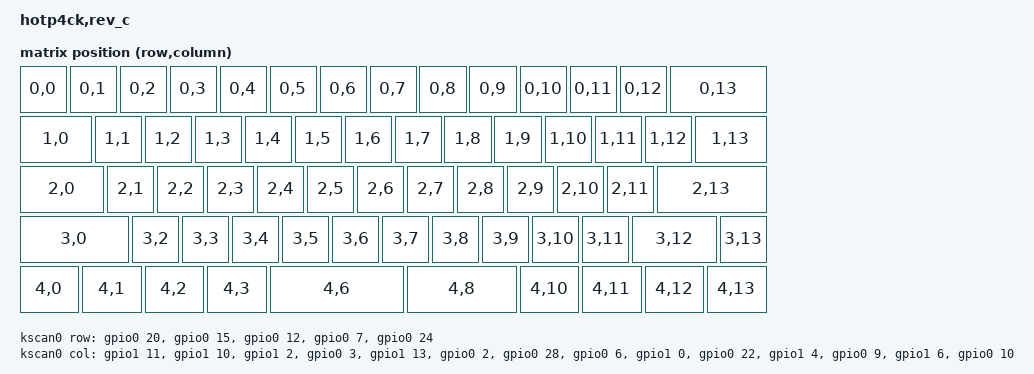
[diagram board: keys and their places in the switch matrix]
/*
 * Copyright (c) 2020 The ZMK Contributors
 *
 * SPDX-License-Identifier: MIT
 */

/dts-v1/;
#include <nordic/nrf52840_qiaa.dtsi>
#include <dt-bindings/zmk/matrix_transform.h>

/ {
	model = "hotp4ck,rev_c";
	compatible = "hotp4ck,rev_c";

	chosen {
		zephyr,code-partition = &code_partition;
		zephyr,sram = &sram0;
		zephyr,flash = &flash0;
		zmk,battery = &fuelgauge;
		zmk,kscan = &kscan0;
		//zmk,matrix_transform = &default_transform;
		/* zephyr,console = &cdc_acm_uart; */
	};

	leds {
		compatible = "gpio-leds";
		blue_led: led_0 {
			gpios = <&gpio0 26 GPIO_ACTIVE_HIGH>;
			label = "Blue LED";
		};
	};

	default_transform: keymap_transform_0 {
		compatible = "zmk,matrix-transform";
		columns = <14>;
		rows = <5>;
		map = <
			RC(0,0) RC(0,1) RC(0,2) RC(0,3) RC(0,4) RC(0,5) RC(0,6) RC(0,7) RC(0,8) RC(0,9) RC(0,10) RC(0,11) RC(0,12) RC(0,13)
			RC(1,0) RC(1,1) RC(1,2) RC(1,3) RC(1,4) RC(1,5) RC(1,6) RC(1,7) RC(1,8) RC(1,9) RC(1,10) RC(1,11) RC(1,12) RC(1,13)
			RC(2,0) RC(2,1) RC(2,2) RC(2,3) RC(2,4) RC(2,5) RC(2,6) RC(2,7) RC(2,8) RC(2,9) RC(2,10) RC(2,11)          RC(2,13)
			RC(3,0)         RC(3,2) RC(3,3) RC(3,4) RC(3,5) RC(3,6) RC(3,7) RC(3,8) RC(3,9) RC(3,10) RC(3,11) RC(3,12) RC(3,13)
			RC(4,0) RC(4,1) RC(4,2) RC(4,3)                 RC(4,6)         RC(4,8)         RC(4,10) RC(4,11) RC(4,12) RC(4,13)
		>;
	};

	kscan0: kscan {
		compatible = "zmk,kscan-gpio-matrix";
		label = "KSCAN";
		diode-direction = "col2row";
		wakeup-source;
		row-gpios
			= <&gpio0 20 (GPIO_ACTIVE_HIGH | GPIO_PULL_DOWN)>
			, <&gpio0 15 (GPIO_ACTIVE_HIGH | GPIO_PULL_DOWN)>
			, <&gpio0 12 (GPIO_ACTIVE_HIGH | GPIO_PULL_DOWN)>
			, <&gpio0 7  (GPIO_ACTIVE_HIGH | GPIO_PULL_DOWN)>
			, <&gpio0 24 (GPIO_ACTIVE_HIGH | GPIO_PULL_DOWN)>
			;
		col-gpios
			= <&gpio1 11 GPIO_ACTIVE_HIGH>
			, <&gpio1 10 GPIO_ACTIVE_HIGH>
			, <&gpio1 2  GPIO_ACTIVE_HIGH>
			, <&gpio0 3  GPIO_ACTIVE_HIGH>
			, <&gpio1 13 GPIO_ACTIVE_HIGH>
			, <&gpio0 2  GPIO_ACTIVE_HIGH>
			, <&gpio0 28 GPIO_ACTIVE_HIGH>
			, <&gpio0 6  GPIO_ACTIVE_HIGH>
			, <&gpio1 0  GPIO_ACTIVE_HIGH>
			, <&gpio0 22 GPIO_ACTIVE_HIGH>
			, <&gpio1 4  GPIO_ACTIVE_HIGH>
			, <&gpio0 9  GPIO_ACTIVE_HIGH>
			, <&gpio1 6  GPIO_ACTIVE_HIGH>
			, <&gpio0 10 GPIO_ACTIVE_HIGH>
			;
	};

	layout_0: layout_0 {
        compatible = "zmk,physical-layout";
        display-name = "Default";

        transform = <&default_transform>;

        keys  //                     w   h     x    y     rot    rx    ry
            = <&key_physical_attrs 100 100     0    0       0     0     0>
            , <&key_physical_attrs 100 100   100    0       0     0     0>
            , <&key_physical_attrs 100 100   200    0       0     0     0>
            , <&key_physical_attrs 100 100   300    0       0     0     0>
            , <&key_physical_attrs 100 100   400    0       0     0     0>
            , <&key_physical_attrs 100 100   500    0       0     0     0>
            , <&key_physical_attrs 100 100   600    0       0     0     0>
            , <&key_physical_attrs 100 100   700    0       0     0     0>
            , <&key_physical_attrs 100 100   800    0       0     0     0>
            , <&key_physical_attrs 100 100   900    0       0     0     0>
            , <&key_physical_attrs 100 100  1000    0       0     0     0>
            , <&key_physical_attrs 100 100  1100    0       0     0     0>
            , <&key_physical_attrs 100 100  1200    0       0     0     0>
            , <&key_physical_attrs 200 100  1300    0       0     0     0>
            , <&key_physical_attrs 150 100     0  100       0     0     0>
            , <&key_physical_attrs 100 100   150  100       0     0     0>
            , <&key_physical_attrs 100 100   250  100       0     0     0>
            , <&key_physical_attrs 100 100   350  100       0     0     0>
            , <&key_physical_attrs 100 100   450  100       0     0     0>
            , <&key_physical_attrs 100 100   550  100       0     0     0>
            , <&key_physical_attrs 100 100   650  100       0     0     0>
            , <&key_physical_attrs 100 100   750  100       0     0     0>
            , <&key_physical_attrs 100 100   850  100       0     0     0>
            , <&key_physical_attrs 100 100   950  100       0     0     0>
            , <&key_physical_attrs 100 100  1050  100       0     0     0>
            , <&key_physical_attrs 100 100  1150  100       0     0     0>
            , <&key_physical_attrs 100 100  1250  100       0     0     0>
            , <&key_physical_attrs 150 100  1350  100       0     0     0>
            , <&key_physical_attrs 175 100     0  200       0     0     0>
            , <&key_physical_attrs 100 100   175  200       0     0     0>
            , <&key_physical_attrs 100 100   275  200       0     0     0>
            , <&key_physical_attrs 100 100   375  200       0     0     0>
            , <&key_physical_attrs 100 100   475  200       0     0     0>
            , <&key_physical_attrs 100 100   575  200       0     0     0>
            , <&key_physical_attrs 100 100   675  200       0     0     0>
            , <&key_physical_attrs 100 100   775  200       0     0     0>
            , <&key_physical_attrs 100 100   875  200       0     0     0>
            , <&key_physical_attrs 100 100   975  200       0     0     0>
            , <&key_physical_attrs 100 100  1075  200       0     0     0>
            , <&key_physical_attrs 100 100  1175  200       0     0     0>
            , <&key_physical_attrs 225 100  1275  200       0     0     0>
			, <&key_physical_attrs 225 100     0  300       0     0     0>
            , <&key_physical_attrs 100 100   225  300       0     0     0>
            , <&key_physical_attrs 100 100   325  300       0     0     0>
            , <&key_physical_attrs 100 100   425  300       0     0     0>
            , <&key_physical_attrs 100 100   525  300       0     0     0>
            , <&key_physical_attrs 100 100   625  300       0     0     0>
            , <&key_physical_attrs 100 100   725  300       0     0     0>
            , <&key_physical_attrs 100 100   825  300       0     0     0>
            , <&key_physical_attrs 100 100   925  300       0     0     0>
            , <&key_physical_attrs 100 100  1025  300       0     0     0>
            , <&key_physical_attrs 100 100  1125  300       0     0     0>
            , <&key_physical_attrs 175 100  1225  300       0     0     0>
            , <&key_physical_attrs 100 100  1400  300       0     0     0>
			, <&key_physical_attrs 125 100     0  400       0     0     0>
			, <&key_physical_attrs 125 100   125  400       0     0     0>
			, <&key_physical_attrs 125 100   250  400       0     0     0>
			, <&key_physical_attrs 125 100   375  400       0     0     0>
			, <&key_physical_attrs 275 100   500  400       0     0     0>
			, <&key_physical_attrs 225 100   775  400       0     0     0>
			, <&key_physical_attrs 125 100  1000  400       0     0     0>
			, <&key_physical_attrs 125 100  1125  400       0     0     0>
			, <&key_physical_attrs 125 100  1250  400       0     0     0>
			, <&key_physical_attrs 125 100  1375  400       0     0     0>
            ;
    };
};

&gpio0 {
	status = "okay";
};

&gpio1 {
	status = "okay";
};

zephyr_udc0: &usbd {
    status = "okay";
};

&pinctrl {
       i2c0_default: i2c0_default {
               group1 {
                       psels = <NRF_PSEL(TWIM_SDA, 0, 5)>,
                               <NRF_PSEL(TWIM_SCL, 1, 9)>;
               };
       };

       i2c0_sleep: i2c0_sleep {
               group1 {
                       psels = <NRF_PSEL(TWIM_SDA, 0, 5)>,
                               <NRF_PSEL(TWIM_SCL, 1, 9)>;
                       low-power-enable;
               };
       };
};

&i2c0 {
	status = "okay";
	compatible = "nordic,nrf-twim";
	pinctrl-0 = <&i2c0_default>;
    pinctrl-1 = <&i2c0_sleep>;
    pinctrl-names = "default", "sleep";
	clock-frequency = <100000>;

	fuelgauge: max17048@36 {
		compatible = "zmk,maxim-max17048";
		reg = <0x36>;
	};
};

&flash0 {
	/*
	 * For more information, see:
	 * http://docs.zephyrproject.org/latest/devices/dts/flash_partitions.html
	 */
	partitions {
		compatible = "fixed-partitions";
		#address-cells = <1>;
		#size-cells = <1>;

		sd_partition: partition@0 {
			label = "softdevice";
			reg = <0x00000000 0x00026000>;
		};
		code_partition: partition@26000 {
			label = "code_partition";
			reg = <0x00026000 0x000c6000>;
		};

		/*
		 * The flash starting at 0x000ec000 and ending at
		 * 0x000f3fff is reserved for use by the application.
		 */

		/*
		 * Storage partition will be used by FCB/LittleFS/NVS
		 * if enabled.
		 */
		storage_partition: partition@ec000 {
			label = "storage";
			reg = <0x000ec000 0x00008000>;
		};

		boot_partition: partition@f4000 {
			label = "adafruit_boot";
			reg = <0x000f4000 0x0000c000>;
		};
	};
};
